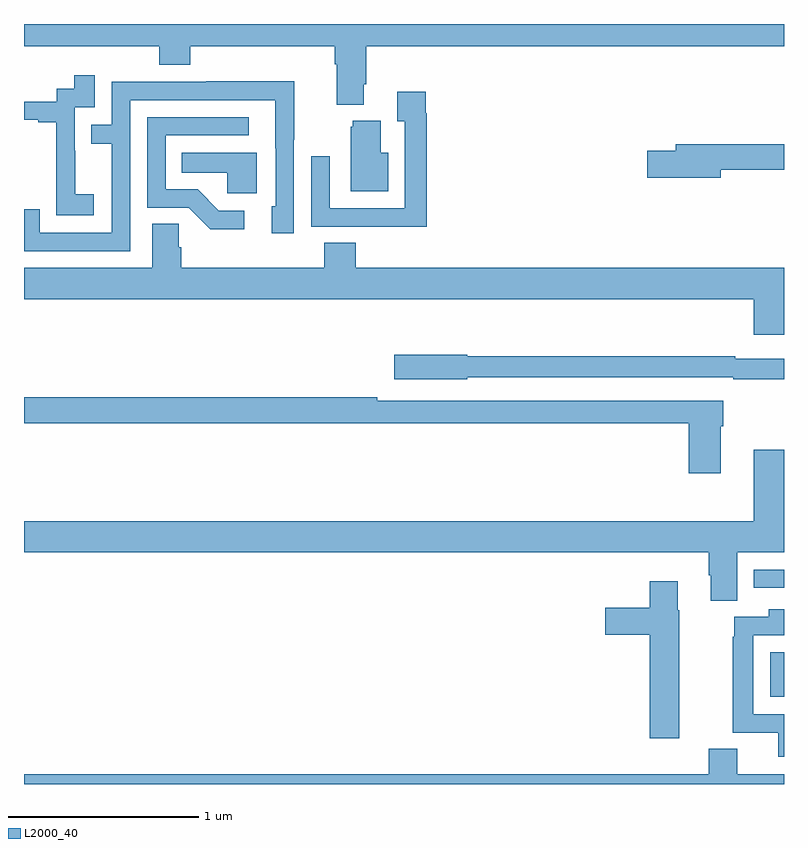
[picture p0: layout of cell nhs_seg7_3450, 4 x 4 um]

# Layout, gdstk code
import gdstk
lib = gdstk.Library(unit=1e-6, precision=1e-09)
def R(c, l, rs):  # rectangles x0, y0, x1, y1
    for r in rs: c.add(gdstk.rectangle(r[:2], r[2:], *l))
def P(c, l, *ps):  # polygons
    for p in ps: c.add(gdstk.Polygon(p, *l))
L2000_40 = (2000, 40)

nhs_seg7_3450 = lib.new_cell('nhs_seg7_3450')
R(nhs_seg7_3450, L2000_40, [(332.927,1062.458,333,1062.694), (332.84,1063.032,333,1063.128)])
P(nhs_seg7_3450, L2000_40, [(330.787,1065.682),(330.8,1065.682),(330.8,1065.884),(333,1065.884),(333,1066),(329,1066),(329,1065.884),(329.711,1065.884),(329.711,1065.785),(329.876,1065.785),(329.876,1065.884),(330.635,1065.884),(330.635,1065.788),(330.647,1065.788),(330.647,1065.575),(330.787,1065.575)],
  [(329.368,1065.103),(329.27,1065.103),(329.27,1065.332),(329.268,1065.332),(329.268,1065.561),(329.373,1065.561),(329.373,1065.73),(329.265,1065.73),(329.265,1065.66),(329.172,1065.66),(329.172,1065.591),(329,1065.591),(329,1065.495),(329.075,1065.495),(329.075,1065.483),(329.171,1065.483),(329.171,1065.199),(329.17,1065.199),(329.17,1064.993),(329.368,1064.993)],
  [(329.559,1065.6),(330.323,1065.6),(330.323,1065.346),(330.324,1065.346),(330.324,1065.042),(330.305,1065.042),(330.305,1064.898),(330.42,1064.898),(330.42,1065.391),(330.423,1065.391),(330.423,1065.698),(329.959,1065.698),(329.959,1065.696),(329.463,1065.696),(329.463,1065.471),(329.353,1065.471),(329.353,1065.37),(329.463,1065.37),(329.463,1064.901),(329.082,1064.901),(329.082,1065.024),(329,1065.024),(329,1064.805),(329.559,1064.805)],
  [(331.121,1065.53),(331.114,1065.53),(331.114,1065.643),(330.965,1065.643),(330.965,1065.487),(331.005,1065.487),(331.005,1065.03),(330.609,1065.03),(330.609,1065.304),(330.513,1065.304),(330.513,1064.934),(330.829,1064.934),(330.829,1064.933),(331.121,1064.933)],
  [(330.16,1065.018),(330.025,1065.018),(329.914,1065.129),(329.745,1065.129),(329.745,1065.414),(330.184,1065.414),(330.184,1065.51),(329.649,1065.51),(329.649,1065.033),(329.868,1065.033),(329.981,1064.921),(330.16,1064.921)],
  [(330.916,1065.322),(330.877,1065.322),(330.877,1065.49),(330.731,1065.49),(330.731,1065.459),(330.719,1065.459),(330.719,1065.119),(330.916,1065.119)],
  [(332.668,1065.232),(333,1065.232),(333,1065.368),(332.429,1065.368),(332.429,1065.332),(332.28,1065.332),(332.28,1065.19),(332.668,1065.19)],
  [(330.226,1065.322),(329.83,1065.322),(329.83,1065.218),(330.069,1065.218),(330.069,1065.11),(330.226,1065.11)],
  [(333,1064.716),(330.746,1064.716),(330.746,1064.849),(330.581,1064.849),(330.581,1064.716),(329.828,1064.716),(329.828,1064.825),(329.814,1064.825),(329.814,1064.948),(329.675,1064.948),(329.675,1064.716),(329,1064.716),(329,1064.552),(332.84,1064.552),(332.84,1064.364),(333,1064.364)],
  [(331.332,1064.142),(332.734,1064.142),(332.734,1064.13),(333,1064.13),(333,1064.238),(332.744,1064.238),(332.744,1064.251),(331.332,1064.251),(331.332,1064.259),(330.948,1064.259),(330.948,1064.129),(331.332,1064.129)],
  [(332.668,1063.883),(332.681,1063.883),(332.681,1064.016),(330.86,1064.016),(330.86,1064.036),(329,1064.036),(329,1063.9),(332.498,1063.9),(332.498,1063.635),(332.668,1063.635)],
  [(332.755,1063.22),(333,1063.22),(333,1063.759),(332.84,1063.759),(332.84,1063.384),(329,1063.384),(329,1063.22),(332.603,1063.22),(332.603,1063.098),(332.615,1063.098),(332.615,1062.964),(332.755,1062.964)],
  [(332.448,1062.915),(332.44,1062.915),(332.44,1063.066),(332.294,1063.066),(332.294,1062.927),(332.058,1062.927),(332.058,1062.785),(332.294,1062.785),(332.294,1062.24),(332.448,1062.24)],
  [(333,1062.366),(332.838,1062.366),(332.838,1062.783),(333,1062.783),(333,1062.919),(332.92,1062.919),(332.92,1062.879),(332.737,1062.879),(332.737,1062.776),(332.73,1062.776),(332.73,1062.27),(332.969,1062.27),(332.969,1062.144),(333,1062.144)],
  [(333,1062.052),(332.755,1062.052),(332.755,1062.185),(332.603,1062.185),(332.603,1062.052),(329,1062.052),(329,1062),(333,1062)])

lib.write_gds('nhs_seg7_3450.gds')
